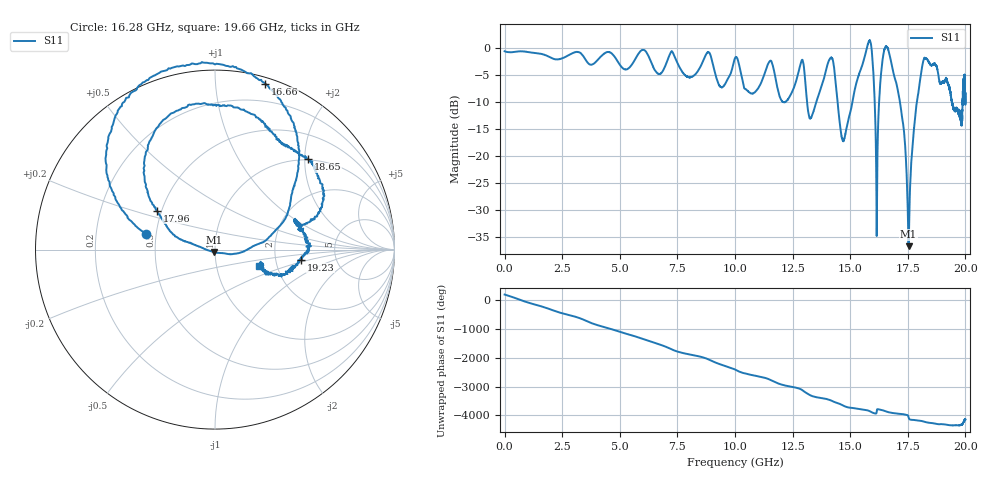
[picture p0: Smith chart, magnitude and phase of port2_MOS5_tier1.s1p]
! Created with skrf 1.8.0 (http://scikit-rf.org).
# GHz S RI R 50.0
!freq ReS11 ImS11
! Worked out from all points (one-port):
!   10001 points, 1 MHz to 20 GHz, reference 50 ohm
!   lowest |S11| = -36.7 dB at 17.54 GHz (marker M1), VSWR 1.03, Z = 49.4 - j1.34 ohm
!   |S11| at or under -10 dB: 14.45 GHz to 15.09 GHz (640.4 MHz wide, 4.33 % of centre); 17.16 GHz to 17.89 GHz (727.9 MHz wide, 4.15 % of centre); 19.42 GHz to 19.88 GHz (452.3 MHz wide, 2.3 % of centre) (the widest 3 of 10)
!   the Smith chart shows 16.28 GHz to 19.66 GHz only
!   S11 on the Smith chart (normalised r, x): 16.28 GHz: 0.44, +0.09; 16.66 GHz: 0.05, +1.35; 17.96 GHz: 0.47, +0.24; 18.65 GHz: 0.99, +2.08; 19.23 GHz: 2.80, -0.40; 19.66 GHz: 1.61, -0.31
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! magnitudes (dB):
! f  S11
! 1 MHz  -0.5
! 2.501 GHz  -1.8
! 5.001 GHz  -3.0
! 7.501 GHz  -2.7
! 8.855 GHz  -0.7
! 9.427 GHz  -7.2
! 10 GHz  -1.8
! 10.67 GHz  -8.3
! 11.52 GHz  -2.3
! 12.5 GHz  -7.8
! 12.92 GHz  -2.1
! 13.3 GHz  -12.9
! 14.17 GHz  -1.7
! 14.66 GHz  -16.9
! 15 GHz  -11.9
! 15.82 GHz  1.4
! 15.96 GHz  -1.7
! 16.14 GHz  -25.8
! 16.28 GHz  -8.1
! 16.66 GHz  -0.3
! 17.25 GHz  -12.9
! 17.5 GHz  -30.4
! 17.54 GHz  -36.7
! 17.96 GHz  -8.2
! 18.65 GHz  -2.8
! 19.23 GHz  -6.3
! 19.66 GHz  -11.7
! 20 GHz  -8.4
